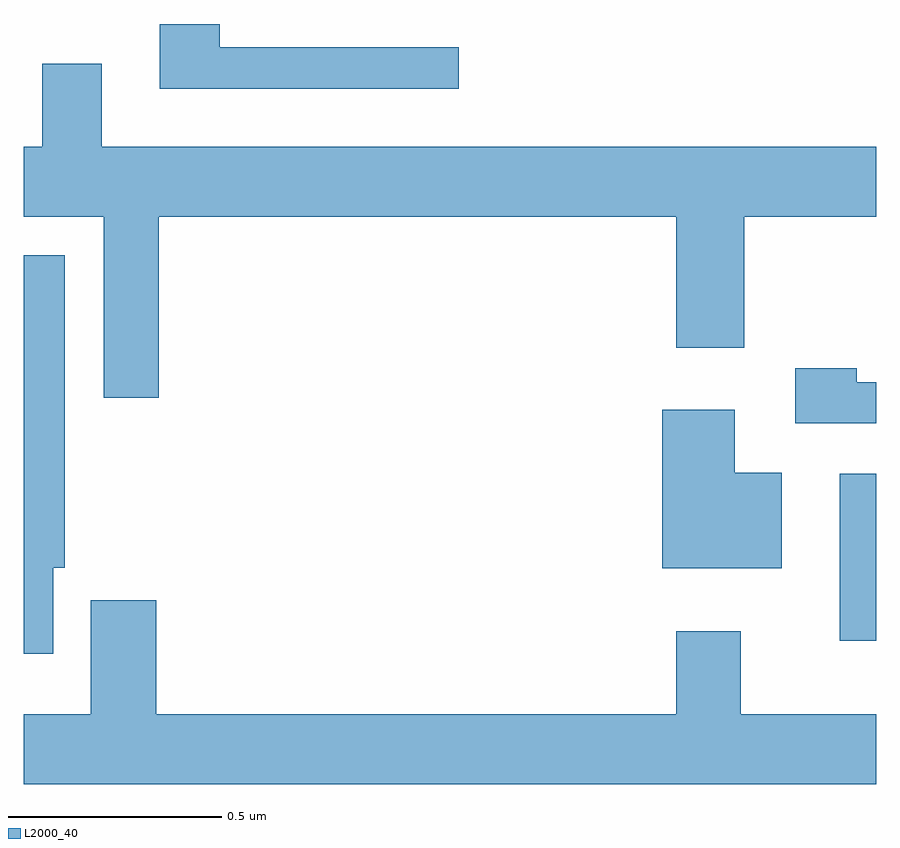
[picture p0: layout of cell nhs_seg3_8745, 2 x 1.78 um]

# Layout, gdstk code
import gdstk
lib = gdstk.Library(unit=1e-6, precision=1e-09)
def R(c, l, rs):  # rectangles x0, y0, x1, y1
    for r in rs: c.add(gdstk.rectangle(r[:2], r[2:], *l))
def P(c, l, *ps):  # polygons
    for p in ps: c.add(gdstk.Polygon(p, *l))
L2000_40 = (2000, 40)

nhs_seg3_8745 = lib.new_cell('nhs_seg3_8745')
R(nhs_seg3_8745, L2000_40, [(221.915,667.952,222,668.344)])
P(nhs_seg3_8745, L2000_40, [(221.02,669.345),(220.459,669.345),(220.459,669.4),(220.319,669.4),(220.319,669.248),(221.02,669.248)],
  [(220.316,668.948),(221.531,668.948),(221.531,668.64),(221.691,668.64),(221.691,668.948),(222,668.948),(222,669.112),(220.183,669.112),(220.183,669.307),(220.043,669.307),(220.043,669.112),(220,669.112),(220,668.948),(220.187,668.948),(220.187,668.523),(220.316,668.523)],
  [(220.069,668.124),(220.096,668.124),(220.096,668.857),(220,668.857),(220,667.922),(220.069,667.922)],
  [(222,668.559),(221.955,668.559),(221.955,668.592),(221.811,668.592),(221.811,668.463),(222,668.463)],
  [(221.779,668.347),(221.668,668.347),(221.668,668.494),(221.498,668.494),(221.498,668.123),(221.779,668.123)],
  [(222,667.78),(221.683,667.78),(221.683,667.975),(221.531,667.975),(221.531,667.78),(220.31,667.78),(220.31,668.047),(220.157,668.047),(220.157,667.78),(220,667.78),(220,667.616),(222,667.616)])

lib.write_gds('nhs_seg3_8745.gds')
